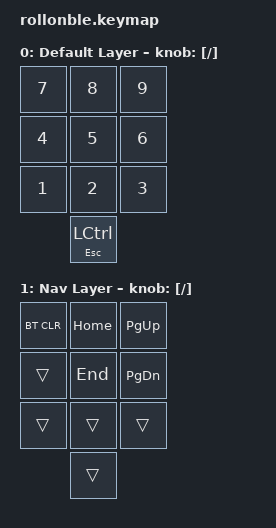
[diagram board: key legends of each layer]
/*
 * Copyright (c) 2020 The ZMK Contributors
 *
 * SPDX-License-Identifier: MIT
 */

#include <behaviors.dtsi>
#include <dt-bindings/zmk/bt.h>
#include <dt-bindings/zmk/keys.h>

/ {
    keymap {
        compatible = "zmk,keymap";

        default_layer {
            display-name = "Default Layer";
// --------------------------
// |  7  |  8  |  9  |
// |  4  |  5  |  6  |
// |  1  |  2  |  3  |
// |     | ESC |     |
// --------------------------
            bindings = <

    &kp N7  &kp N8 &kp N9
    &kp N4  &kp N5 &kp N6
    &kp N1  &kp N2 &kp N3
             &mt ESC LCTRL
            >;

            sensor-bindings = <&inc_dec_kp LBKT RBKT>;
        };

         navigation_layer {
            display-name = "Nav Layer";
// --------------------------
// | BT_CLR |  HOME |  PGUP |
// | _      |  END  |  PGDN |
// | _      |  _    |  _    |
// | _      |  _    |  _    |
// --------------------------
             bindings = <
     &bt BT_CLR &kp HOME &kp PG_UP
     &trans     &kp END  &kp PG_DN
     &trans     &trans   &trans
                         &trans
             >;

             sensor-bindings = <&inc_dec_kp LBKT RBKT>;
         };
    };
};
